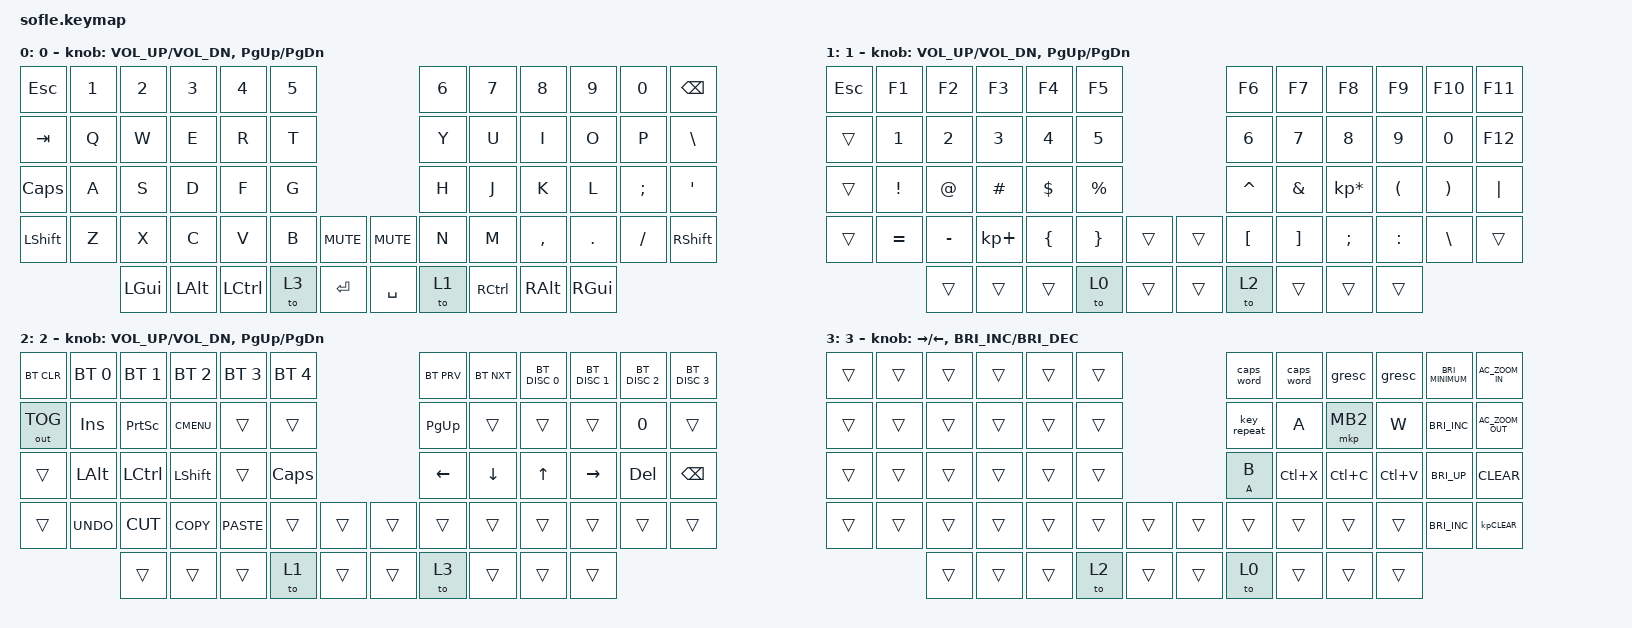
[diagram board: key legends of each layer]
/*
 * Copyright (c) 2020 The ZMK Contributors
 *
 * SPDX-License-Identifier: MIT
 */

#include <behaviors.dtsi>
#include <dt-bindings/zmk/bt.h>
#include <dt-bindings/zmk/keys.h>
#include <dt-bindings/zmk/outputs.h>
#include <dt-bindings/zmk/pointing.h>
#include <dt-bindings/zmk/ext_power.h>

/ {
    keymap {
        compatible = "zmk,keymap";

        L0 {
            display-name = "0";

            // ------------------------------------------------------------------------------------------------------------
            // |  `    |  1  |  2  |  3   |  4   |  5   |                   |  6   |  7    |  8    |  9   |   0   |       |
            // |  ESC  |  Q  |  W  |  E   |  R   |  T   |                   |  Y   |  U    |  I    |  O   |   P   | BKSPC |
            // |  TAB  |  A  |  S  |  D   |  F   |  G   |                   |  H   |  J    |  K    |  L   |   ;   |   '   |
            // | SHIFT |  Z  |  X  |  C   |  V   |  B   |  MUTE  |  |       |  N   |  M    |  ,    |  .   |   /   | SHIFT |
            //               | GUI | ALT  | CTRL | LOWER|  ENTER |  | SPACE | RAISE| CTRL  | ALT   | GUI  |

            bindings = <
&kp ESC    &kp N1  &kp N2    &kp N3    &kp N4     &kp N5                            &kp N6  &kp N7     &kp N8     &kp N9    &kp N0    &kp BSPC
&kp TAB    &kp Q   &kp W     &kp E     &kp R      &kp T                             &kp Y   &kp U      &kp I      &kp O     &kp P     &kp BSLH
&kp CAPS   &kp A   &kp S     &kp D     &kp F      &kp G                             &kp H   &kp J      &kp K      &kp L     &kp SEMI  &kp SQT
&kp LSHFT  &kp Z   &kp X     &kp C     &kp V      &kp B   &kp C_MUTE    &kp C_MUTE  &kp N   &kp M      &kp COMMA  &kp DOT   &kp FSLH  &kp RSHFT
                   &kp LGUI  &kp LALT  &kp LCTRL  &to 3   &kp RET       &kp SPACE   &to 1   &kp RCTRL  &kp RALT   &kp RGUI
            >;

            sensor-bindings = <&inc_dec_kp C_VOL_UP C_VOL_DN &inc_dec_kp PG_UP PG_DN>;
        };

        L1 {
            display-name = "1";

            // ------------------------------------------------------------------------------------------------------------
            // | `     |  F1 |  F2 |  F3  |  F4  |  F5  |                   |  F6  |  F7   |  F8   |  F9  |  F10  |  F11  |
            // | RAISE |   1 |   2 |   3  |   4  |   5  |                   |   6  |   7   |   8   |   9  |    0  |  F12  |
            // |       |  !  |  @  |  #   |  $   |  %   |                   |  ^   |  &    |  *    |  (   |   )   |   |   |
            // |       |  =  |  -  |  +   |  {   |  }   |        |  |       |  [   |  ]    |  ;    |  :   |   \   |       |
            //               |     |      |      |      |        |  |       |      |       |       |      |

            bindings = <
&kp ESC  &kp F1     &kp F2     &kp F3       &kp F4    &kp F5                       &kp F6     &kp F7    &kp F8           &kp F9     &kp F10   &kp F11
&trans   &kp N1     &kp N2     &kp N3       &kp N4    &kp N5                       &kp N6     &kp N7    &kp N8           &kp N9     &kp N0    &kp F12
&trans   &kp EXCL   &kp AT     &kp HASH     &kp DLLR  &kp PRCNT                    &kp CARET  &kp AMPS  &kp KP_MULTIPLY  &kp LPAR   &kp RPAR  &kp PIPE
&trans   &kp EQUAL  &kp MINUS  &kp KP_PLUS  &kp LBRC  &kp RBRC   &trans    &trans  &kp LBKT   &kp RBKT  &kp SEMI         &kp COLON  &kp BSLH  &trans
                    &trans     &trans       &trans    &to 0      &trans    &trans  &to 2      &trans    &trans           &trans
            >;

            sensor-bindings = <&inc_dec_kp C_VOL_UP C_VOL_DN &inc_dec_kp PG_UP PG_DN>;
        };

        L2 {
            display-name = "2";

            // ------------------------------------------------------------------------------------------------------------
            // |BTCLR| BT1  | BT2  |  BT3  |  BT4  |  BT5 |                |      |      |       |      |       |       |
            // |     | INS  | PSCR | GUI   |       |      |                | PGUP |      |       |      |       |       |
            // |     | ALT  | CTRL | SHIFT |       | CAPS |                |  <-  |   v  |   ^   |  ->  |  DEL  | BKSPC |
            // |     | UNDO | CUT  | COPY  | PASTE |      |      |  |      |      |      |       |      |       |       |
            //              |      |       |       |      |      |  |      |      |      |       |      |

            bindings = <
&bt BT_CLR    &bt BT_SEL 0  &bt BT_SEL 1  &bt BT_SEL 2  &bt BT_SEL 3  &bt BT_SEL 4                    &bt BT_PRV  &bt BT_NXT  &bt BT_DISC 0  &bt BT_DISC 1  &bt BT_DISC 2  &bt BT_DISC 3
&out OUT_TOG  &kp INS       &kp PSCRN     &kp K_CMENU   &trans        &trans                          &kp PG_UP   &trans      &trans         &trans         &kp N0         &trans
&trans        &kp LALT      &kp LCTRL     &kp LSHFT     &trans        &kp CLCK                        &kp LEFT    &kp DOWN    &kp UP         &kp RIGHT      &kp DEL        &kp BSPC
&trans        &kp K_UNDO    &kp K_CUT     &kp K_COPY    &kp K_PASTE   &trans        &trans    &trans  &trans      &trans      &trans         &trans         &trans         &trans
                            &trans        &trans        &trans        &to 1         &trans    &trans  &to 3       &trans      &trans         &trans
            >;

            sensor-bindings = <&inc_dec_kp C_VOL_UP C_VOL_DN &inc_dec_kp PG_UP PG_DN>;
        };

        L3 {
            display-name = "3";
            bindings = <
&trans  &trans  &trans  &trans  &trans  &trans                    &caps_word   &caps_word  &gresc     &gresc     &kp C_BRIGHTNESS_MINIMUM  &kp C_AC_ZOOM_IN
&trans  &trans  &trans  &trans  &trans  &trans                    &key_repeat  &kp A       &mkp MB2   &kp W      &kp C_BRIGHTNESS_INC      &kp C_AC_ZOOM_OUT
&trans  &trans  &trans  &trans  &trans  &trans                    &mt A B      &kp LC(X)   &kp LC(C)  &kp LC(V)  &kp C_BRI_UP              &kp CLEAR
&trans  &trans  &trans  &trans  &trans  &trans  &trans    &trans  &trans       &trans      &trans     &trans     &kp C_BRI_INC             &kp KP_CLEAR
                &trans  &trans  &trans  &to 2   &trans    &trans  &to 0        &trans      &trans     &trans
            >;

            sensor-bindings =
                <&inc_dec_kp RIGHT LEFT>,
                <&inc_dec_kp C_BRI_INC C_BRI_DEC>;
        };
    };
};
